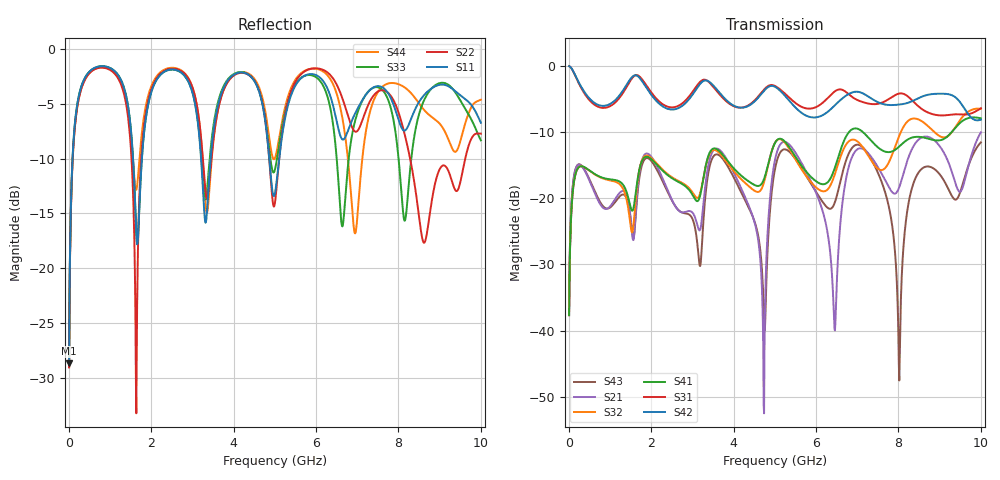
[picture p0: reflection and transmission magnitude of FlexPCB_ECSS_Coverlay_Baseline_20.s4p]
! TOUCHSTONE file generated by CST MICROWAVE STUDIO
! Date and time: Sun Jul  5 19:09:43 2026
! Project name: FlexPCB_ECSS_Coverlay_Baseline.cst
! Parameters = {Gap=0.8; GroundW=7.2; Hadh=0.025; Hcov=0.025; Hsub=0.1; L=50; Tcu=0.035; W=0.24}
! Header version: 2024
! Port assignment regex: !\s*Touchstone port\s*([0-9]+)\s*=\s*(CST MWS port|CST DES external port|CST DES block port)\s*(.+)\s* \(\"(.*)\"\)(\s*mode\s*([0-9]+))?.*
! Touchstone port assignment:
! Touchstone port 1 = CST MWS port 1 ("")
! Touchstone port 2 = CST MWS port 2 ("")
! Touchstone port 3 = CST MWS port 3 ("")
! Touchstone port 4 = CST MWS port 4 ("")
# GHz S MA R 50
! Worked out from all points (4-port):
!   1002 points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, 10 MHz to 10 GHz, reference 50 ohm
!   strongest paths, dB at 10 MHz, 2.51 GHz, 5.01 GHz, 7.503 GHz, 10 GHz:
!     S42: 0.0, -6.6, -3.1, -5.5, -8.1
!     S31: 0.0, -6.2, -3.0, -5.7, -6.4
!     S41: -37.7, -17.0, -11.6, -12.3, -7.9
!     S32: -37.7, -16.8, -11.5, -15.5, -6.5
!     S21: -36.6, -20.3, -14.0, -15.3, -10.0
!     S43: -36.6, -20.4, -15.4, -16.1, -11.5
!   lowest |S11| = -28.7 dB at 10 MHz (marker M1), VSWR 1.08, Z = 49.8 - j3.66 ohm
!   |S11| at or under -10 dB: 1.56 GHz to 1.776 GHz (215.1 MHz wide, 12.9 % of centre); 3.211 GHz to 3.443 GHz (231.9 MHz wide, 6.97 % of centre); 4.866 GHz to 5.106 GHz (239.6 MHz wide, 4.81 % of centre)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
0.01  0.03671 -91.5  0.01474 85.3  0.9981 -2.5  0.01306 85.5
      0.01474 85.3  0.03525 -91.4  0.01306 85.5  0.9982 -2.4
      0.9981 -2.5  0.01306 85.5  0.03671 -91.5  0.01474 85.4
      0.01306 85.5  0.9982 -2.4  0.01474 85.4  0.03526 -91.3
1.65  0.1345 160.4  0.09966 49.5  0.8543 -179.0  0.1251 -128.1
      0.09966 49.5  0.04082 -128.1  0.1181 -115.4  0.8485 176.4
      0.8543 -179.0  0.1181 -115.4  0.1337 161.3  0.09286 44.9
      0.1251 -128.1  0.8485 176.4  0.09286 44.9  0.2312 -174.9
3.29  0.1792 153.1  0.1059 43.1  0.7892 3.7  0.1554 67.8
      0.1059 43.1  0.2591 143.2  0.1552 63.6  0.7763 6.7
      0.7892 3.7  0.1552 63.6  0.2162 160.0  0.08402 57.4
      0.1554 67.8  0.7763 6.7  0.08402 57.4  0.2368 141.4
4.94  0.227 159.0  0.1462 59.4  0.7184 -176.1  0.2345 -110.4
      0.1462 59.4  0.2089 147.9  0.2351 -108.8  0.7082 -177.0
      0.7184 -176.1  0.2351 -108.8  0.2796 161.7  0.1224 54.9
      0.2345 -110.4  0.7082 -177.0  0.1224 54.9  0.3246 163.4
6.6  0.3976 163.9  0.06986 69.0  0.666 3.7  0.2339 88.0
     0.06986 69.0  0.625 134.5  0.2081 88.5  0.5563 21.9
     0.666 3.7  0.2081 88.5  0.1734 145.9  0.1381 123.1
     0.2339 88.0  0.5563 21.9  0.1381 123.1  0.5296 130.5
8.02  0.4648 163.4  0.1214 145.6  0.6199 -154.5  0.2466 -87.8
      0.1214 145.6  0.5019 97.5  0.2971 -56.1  0.5117 -142.5
      0.6199 -154.5  0.2971 -56.1  0.2918 139.7  0.004194 158.8
      0.2466 -87.8  0.5117 -142.5  0.004194 158.8  0.6896 171.6
10  0.461 157.4  0.3156 25.0  0.4791 -2.7  0.402 45.8
    0.3156 25.0  0.4112 -153.8  0.4753 54.2  0.3934 -5.2
    0.4791 -2.7  0.4753 54.2  0.3833 168.4  0.2649 25.7
    0.402 45.8  0.3934 -5.2  0.2649 25.7  0.5879 -175.0
